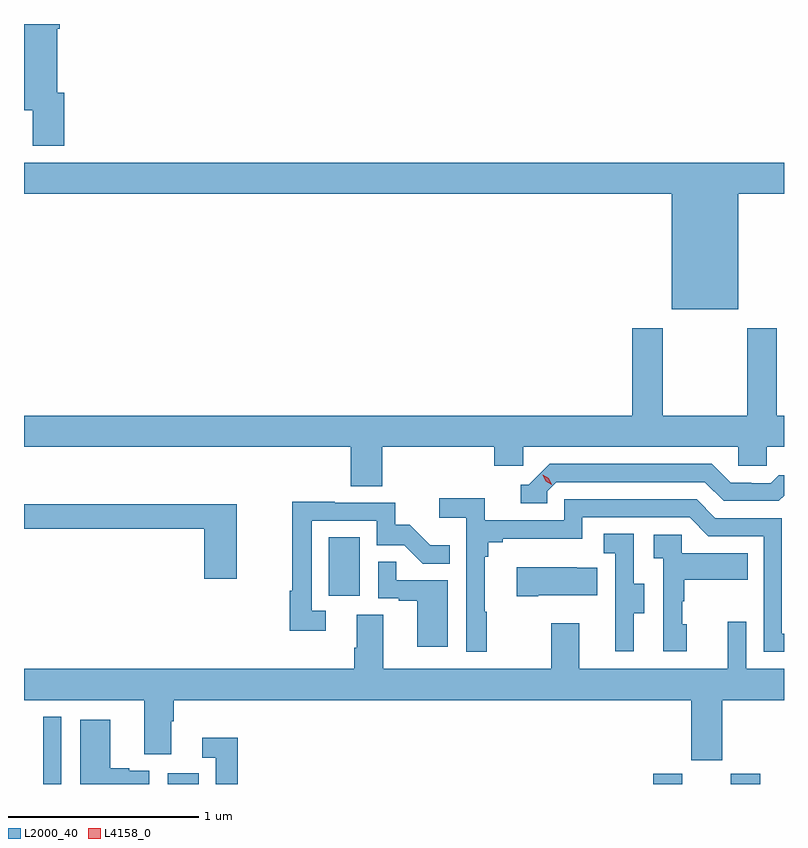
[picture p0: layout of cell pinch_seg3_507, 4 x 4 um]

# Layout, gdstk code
import gdstk
lib = gdstk.Library(unit=1e-6, precision=1e-09)
def R(c, l, rs):  # rectangles x0, y0, x1, y1
    for r in rs: c.add(gdstk.rectangle(r[:2], r[2:], *l))
def P(c, l, *ps):  # polygons
    for p in ps: c.add(gdstk.Polygon(p, *l))
L2000_40 = (2000, 40)
L4158_0 = (4158, 0)

pinch_seg3_507 = lib.new_cell('pinch_seg3_507')
R(pinch_seg3_507, L2000_40, [(999.87,669.838,999.966,670.192), (1000.526,669.838,1000.69,669.895), (1003.082,669.838,1003.234,669.891), (1003.49,669.838,1003.643,669.891), (1001.372,670.83,1001.536,671.137)])
P(pinch_seg3_507, L2000_40, [(999.98,673.476),(999.943,673.476),(999.943,673.814),(999.956,673.814),(999.956,673.838),(999.769,673.838),(999.769,673.383),(999.815,673.383),(999.815,673.197),(999.98,673.197)],
  [(1003.528,672.944),(1003.769,672.944),(1003.769,673.108),(999.769,673.108),(999.769,672.944),(1003.178,672.944),(1003.178,672.338),(1003.528,672.338)],
  [(1003.131,672.238),(1002.971,672.238),(1002.971,671.776),(999.769,671.776),(999.769,671.612),(1001.489,671.612),(1001.489,671.404),(1001.654,671.404),(1001.654,671.612),(1002.245,671.612),(1002.245,671.514),(1002.396,671.514),(1002.396,671.612),(1003.527,671.612),(1003.527,671.514),(1003.677,671.514),(1003.677,671.612),(1003.769,671.612),(1003.769,671.776),(1003.731,671.776),(1003.731,672.238),(1003.576,672.238),(1003.576,671.776),(1003.131,671.776)],
  [(1002.522,671.379),(1002.57,671.427),(1003.353,671.427),(1003.452,671.328),(1003.741,671.328),(1003.769,671.356),(1003.769,671.464),(1003.741,671.464),(1003.699,671.421),(1003.596,671.421),(1003.596,671.424),(1003.489,671.424),(1003.39,671.523),(1002.537,671.523),(1002.426,671.412),(1002.383,671.412),(1002.383,671.316),(1002.522,671.316)],
  [(1002.205,670.745),(1002.193,670.745),(1002.193,671.033),(1002.212,671.033),(1002.212,671.11),(1002.289,671.11),(1002.289,671.129),(1002.708,671.129),(1002.708,671.241),(1003.272,671.241),(1003.371,671.142),(1003.662,671.142),(1003.662,670.533),(1003.769,670.533),(1003.769,670.629),(1003.758,670.629),(1003.758,671.238),(1003.408,671.238),(1003.309,671.337),(1002.612,671.337),(1002.612,671.226),(1002.194,671.226),(1002.194,671.342),(1001.955,671.342),(1001.955,671.24),(1002.096,671.24),(1002.096,670.533),(1002.205,670.533)],
  [(1001.356,670.749),(1001.283,670.749),(1001.283,671.223),(1001.625,671.223),(1001.625,671.094),(1001.769,671.094),(1001.867,670.996),(1002.011,670.996),(1002.011,671.095),(1001.907,671.095),(1001.8,671.202),(1001.724,671.202),(1001.724,671.319),(1001.405,671.319),(1001.405,671.324),(1001.182,671.324),(1001.182,670.856),(1001.167,670.856),(1001.167,670.644),(1001.356,670.644)],
  [(1000.888,671.311),(999.769,671.311),(999.769,671.182),(1000.718,671.182),(1000.718,670.917),(1000.888,670.917)],
  [(1002.979,670.738),(1003.033,670.738),(1003.033,670.893),(1002.978,670.893),(1002.978,671.156),(1002.819,671.156),(1002.819,671.053),(1002.882,671.053),(1002.882,670.749),(1002.881,670.749),(1002.881,670.536),(1002.979,670.536)],
  [(1003.258,670.68),(1003.233,670.68),(1003.233,670.799),(1003.243,670.799),(1003.243,670.913),(1003.577,670.913),(1003.577,671.053),(1003.23,671.053),(1003.23,671.151),(1003.083,671.151),(1003.083,671.027),(1003.134,671.027),(1003.134,670.536),(1003.258,670.536)],
  [(1001.998,670.911),(1001.729,670.911),(1001.729,671.009),(1001.634,671.009),(1001.634,670.815),(1001.741,670.815),(1001.741,670.803),(1001.84,670.803),(1001.84,670.56),(1001.998,670.56)],
  [(1002.475,670.832),(1002.785,670.832),(1002.785,670.975),(1002.677,670.975),(1002.677,670.978),(1002.363,670.978),(1002.363,670.825),(1002.475,670.825)],
  [(1003.444,670.28),(1003.769,670.28),(1003.769,670.444),(1003.569,670.444),(1003.569,670.693),(1003.472,670.693),(1003.472,670.444),(1002.691,670.444),(1002.691,670.684),(1002.544,670.684),(1002.544,670.444),(1001.659,670.444),(1001.659,670.73),(1001.519,670.73),(1001.519,670.556),(1001.507,670.556),(1001.507,670.444),(999.769,670.444),(999.769,670.28),(1000.403,670.28),(1000.403,669.994),(1000.543,669.994),(1000.543,670.168),(1000.556,670.168),(1000.556,670.28),(1003.28,670.28),(1003.28,669.963),(1003.444,669.963)],
  [(1000.428,669.909),(1000.322,669.909),(1000.322,669.922),(1000.222,669.922),(1000.222,670.177),(1000.064,670.177),(1000.064,669.838),(1000.428,669.838)],
  [(1000.895,670.081),(1000.707,670.081),(1000.707,669.975),(1000.779,669.975),(1000.779,669.838),(1000.895,669.838)])
P(pinch_seg3_507, L4158_0, [(1002.546,671.413),(1002.515,671.432),(1002.498,671.465),(1002.498,671.465),(1002.499,671.465),(1002.53,671.446),(1002.547,671.414),(1002.547,671.413)])

lib.write_gds('pinch_seg3_507.gds')
